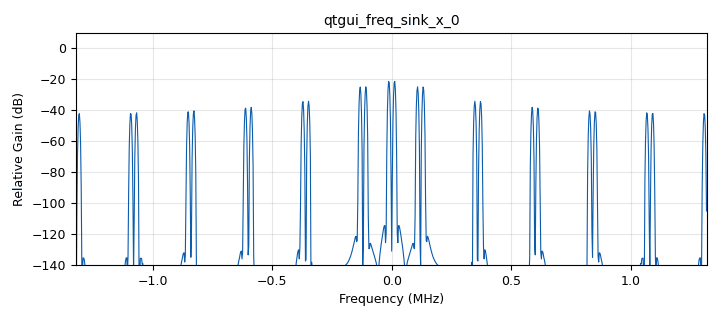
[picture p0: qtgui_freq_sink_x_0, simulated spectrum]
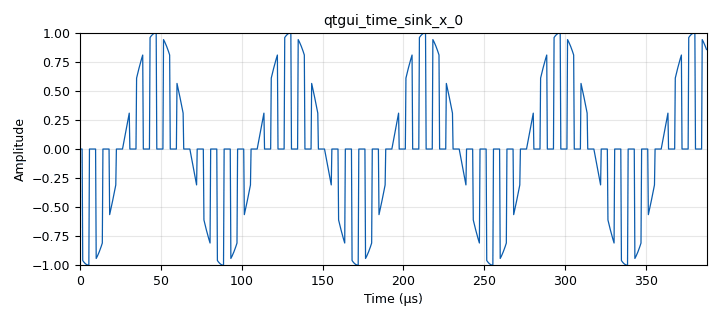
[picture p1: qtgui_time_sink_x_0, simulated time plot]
options:
  parameters:
    author: Barios-Tirado
    copyright: UIS
    generate_options: qt_gui
    id: multiplicador
    output_language: python
    title: multiplicador
  states: {}

blocks:
- name: G
  id: variable_qtgui_range
  parameters:
    label: Ganancia
    start: 1e3
    step: 1e3
    stop: 150e3
    value: 36e3
  states: {}
- name: freq_c
  id: variable_qtgui_range
  parameters:
    label: frecuencia
    start: 1e3
    step: 1e3
    stop: 150e3
    value: 36e3
  states: {}
- name: freq_s
  id: variable_qtgui_range
  parameters:
    label: frecuencia
    start: 1e3
    step: 1e3
    stop: 40e3
    value: 12e3
  states: {}
- name: samp_rate
  id: variable_qtgui_range
  parameters:
    label: frecuencia de muestreo
    start: 1e3
    step: 1e3
    stop: 1e7
    value: '2640000'
  states: {}
- name: analog_sig_source_x_1
  id: analog_sig_source_x
  parameters:
    amp: '1'
    freq: '120000'
    offset: '0'
    phase: '0'
    samp_rate: samp_rate
    type: float
    waveform: analog.GR_SQR_WAVE
  states: {}
- name: analog_sig_source_x_2
  id: analog_sig_source_x
  parameters:
    amp: '1'
    freq: freq_s
    offset: '0'
    phase: '0'
    samp_rate: samp_rate
    type: float
    waveform: analog.GR_COS_WAVE
  states: {}
- name: blocks_float_to_complex_0
  id: blocks_float_to_complex
  parameters: {}
  states: {}
- name: blocks_multiply_xx_0
  id: blocks_multiply_xx
  parameters:
    type: float
  states: {}
- name: blocks_null_source_0
  id: blocks_null_source
  parameters:
    type: float
  states: {}
- name: blocks_throttle_0
  id: blocks_throttle
  parameters:
    samples_per_second: samp_rate
    type: float
  states: {}
- name: qtgui_freq_sink_x_0
  id: qtgui_freq_sink_x
  parameters:
    bw: samp_rate
    fc: '0'
    fftsize: '1024'
    type: float
  states: {}
- name: qtgui_time_sink_x_0
  id: qtgui_time_sink_x
  parameters:
    size: '1024'
    srate: samp_rate
    type: float
  states: {}
- name: uhd_usrp_sink_0
  id: uhd_usrp_sink
  parameters:
    ant0: '"TX/RX"'
    center_freq0: '52000000'
    gain0: G
    samp_rate: samp_rate
    sync: pc_clock
    type: fc32
  states: {}

connections:
- [analog_sig_source_x_1, '0', blocks_multiply_xx_0, '1']
- [analog_sig_source_x_2, '0', blocks_multiply_xx_0, '0']
- [blocks_float_to_complex_0, '0', uhd_usrp_sink_0, '0']
- [blocks_multiply_xx_0, '0', blocks_throttle_0, '0']
- [blocks_null_source_0, '0', blocks_float_to_complex_0, '1']
- [blocks_throttle_0, '0', blocks_float_to_complex_0, '0']
- [blocks_throttle_0, '0', qtgui_freq_sink_x_0, '0']
- [blocks_throttle_0, '0', qtgui_time_sink_x_0, '0']

metadata:
  file_format: 1
